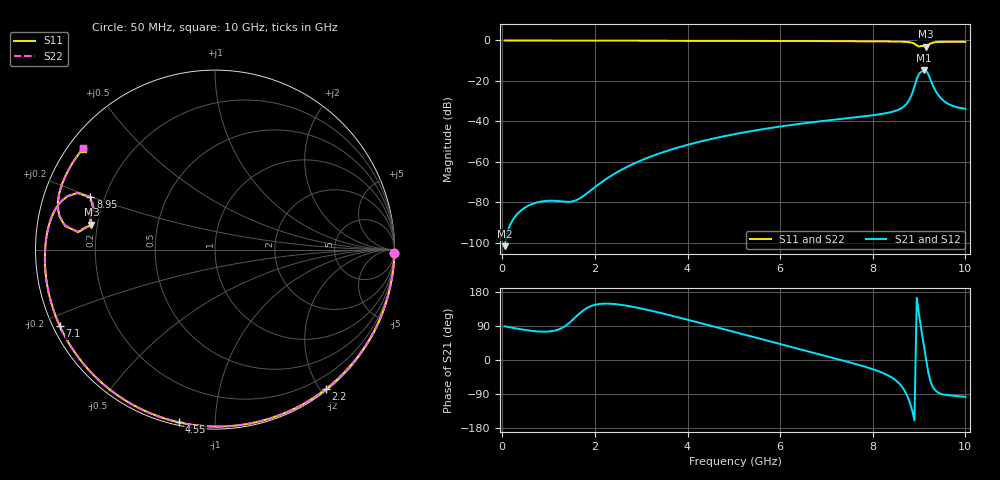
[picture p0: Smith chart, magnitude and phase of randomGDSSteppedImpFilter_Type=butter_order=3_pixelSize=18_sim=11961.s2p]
! freq	dB(S11)	phase(S11)	dB(S12)	phase(S12)
!  dB(S21)	phase(S21)	dB(S22)	phase(S22)
!S-par simulation data
#  GHz  S  DB  R 50
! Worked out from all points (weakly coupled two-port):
!   200 points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, 50 MHz to 10 GHz, reference 50 ohm
!   highest |S21| = -14.82 dB at 9.1 GHz (marker M1); lowest = -101.7 dB at 50 MHz (marker M2)
!   lowest |S11| = -3.1 dB at 9.15 GHz (marker M3), VSWR 5.71, Z = 8.84 + j4.83 ohm
!   |S11| at or under -10 dB: nowhere
!   |S22| runs from -3.0 to 0.0 dB; largest |S21 - S12| = 0
!   S11 on the Smith chart (normalised r, x): 50 MHz: 0, -95; 2.2 GHz: 0.02, -2.08; 4.55 GHz: 0.01, -0.81; 7.1 GHz: 0.02, -0.23; 8.95 GHz: 0.15, +0.20; 10 GHz: 0.04, +0.34
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0.05  -0.00 -1.2  -101.69 88.9  -101.69 88.9  -0.00 -1.2
1.45  -0.04 -34.3  -79.72 98.1  -79.72 98.1  -0.04 -34.3
1.75  -0.05 -41.2  -76.91 131.1  -76.91 131.1  -0.05 -41.2
2.2  -0.07 -51.4  -69.14 148.7  -69.14 148.7  -0.07 -51.4
2.75  -0.08 -63.6  -61.86 141.9  -61.86 141.9  -0.08 -63.7
3.4  -0.10 -77.7  -55.79 124.7  -55.79 124.7  -0.10 -77.8
4.55  -0.15 -101.8  -48.51 88.8  -48.51 88.8  -0.15 -101.8
5.05  -0.17 -112.0  -46.16 72.8  -46.16 72.8  -0.17 -112.0
6.7  -0.28 -145.4  -40.42 19.8  -40.42 19.8  -0.28 -145.4
7.1  -0.32 -153.7  -39.34 7.0  -39.34 7.0  -0.32 -153.8
8.35  -0.50 177.9  -35.66 -41.8  -35.66 -41.8  -0.50 177.8
8.6  -0.60 170.7  -33.75 -65.9  -33.75 -65.9  -0.60 170.6
8.75  -0.78 165.2  -30.74 -96.5  -30.74 -96.5  -0.78 165.0
8.85  -1.15 160.3  -26.23 -132.7  -26.23 -132.7  -1.16 160.1
8.95  -2.47 157.2  -19.02 164.4  -19.02 164.4  -2.51 157.1
9.05  -2.71 164.2  -15.44 78.2  -15.44 78.2  -2.72 164.5
9.1  -2.85 164.2  -14.82 41.4  -14.82 41.4  -2.82 164.6
9.15  -3.07 168.6  -14.84 2.7  -14.84 2.7  -3.01 168.7
9.2  -2.27 172.7  -16.69 -33.4  -16.69 -33.4  -2.23 172.5
9.3  -1.06 168.0  -22.39 -71.8  -22.39 -71.8  -1.04 167.8
9.5  -0.68 158.7  -29.21 -90.3  -29.21 -90.3  -0.68 158.5
10  -0.66 142.7  -33.78 -97.3  -33.78 -97.3  -0.66 142.5
